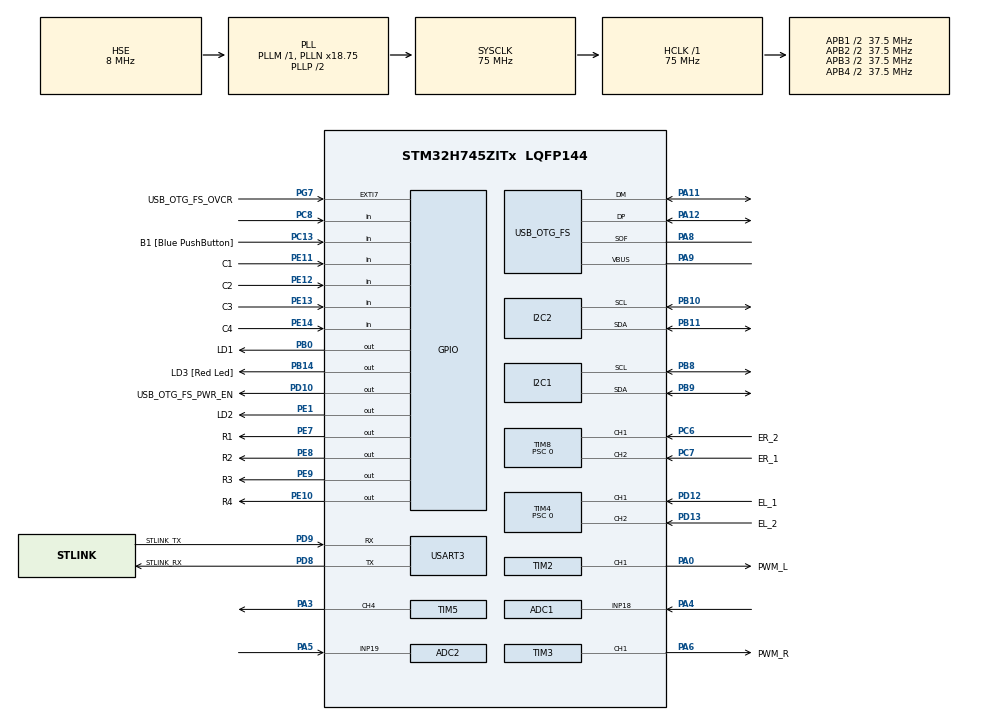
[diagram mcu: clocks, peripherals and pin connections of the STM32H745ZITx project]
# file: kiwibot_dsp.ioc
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ADC1.Channel-0\#ChannelRegularConversion=ADC_CHANNEL_18
ADC1.NbrOfConversionFlag=1
ADC1.OffsetNumber-0\#ChannelRegularConversion=ADC_OFFSET_NONE
ADC1.OffsetSignedSaturation-0\#ChannelRegularConversion=DISABLE
ADC1.Rank-0\#ChannelRegularConversion=1
ADC1.SamplingTime-0\#ChannelRegularConversion=ADC_SAMPLETIME_1CYCLE_5
ADC1.master=1
ADC2.Channel-0\#ChannelRegularConversion=ADC_CHANNEL_19
ADC2.NbrOfConversionFlag=1
ADC2.OffsetNumber-0\#ChannelRegularConversion=ADC_OFFSET_NONE
ADC2.OffsetSignedSaturation-0\#ChannelRegularConversion=DISABLE
ADC2.Rank-0\#ChannelRegularConversion=1
ADC2.SamplingTime-0\#ChannelRegularConversion=ADC_SAMPLETIME_1CYCLE_5
CortexM4.IPs=FATFS_M4\:I,FREERTOS_M4\:I,IWDG2\:I,RCC,WWDG2\:I,DMA,BDMA,MDMA,NVIC2\:I,DEBUG,USB_DEVICE_M4\:I,USB_HOST_M4\:I,PDM2PCM_M4\:I,PWR,RESMGR_UTILITY,SYS_M4\:I,CORTEX_M4\:I,OPENAMP_M4\:I,VREFBUF,GPIO
CortexM7.IPs=FATFS_M7\:I,FREERTOS_M7\:I,IWDG1\:I,RCC\:I,WWDG1\:I,DMA\:I,BDMA\:I,MDMA\:I,NVIC1\:I,SYS\:I,USART3\:I,USB_OTG_FS\:I,CORTEX_M7\:I,DEBUG\:I,USB_DEVICE_M7\:I,USB_HOST_M7\:I,PDM2PCM_M7\:I,PWR\:I,RESMGR_UTILITY\:I,OPENAMP_M7\:I,VREFBUF\:I,GPIO\:I,TIM8\:I,TIM4\:I,TIM3\:I,TIM2\:I,TIM1\:I,ADC1\:I,ADC2\:I,TIM17\:I,I2C1\:I,TIM5\:I,I2C2\:I
CortexM7.Pins=PB0,PE7,PE8,PE9,PE10,PE11,PE12,PE13,PE14,PB14,PC8,PE1
Dma.Request0=USART3_RX
Dma.Request1=USART3_TX
Dma.USART3_RX.0.Direction=DMA_PERIPH_TO_MEMORY
Dma.USART3_RX.0.EventEnable=DISABLE
Dma.USART3_RX.0.FIFOMode=DMA_FIFOMODE_DISABLE
Dma.USART3_RX.0.Instance=DMA1_Stream0
Dma.USART3_RX.0.MemDataAlignment=DMA_MDATAALIGN_BYTE
Dma.USART3_RX.0.MemInc=DMA_MINC_ENABLE
Dma.USART3_RX.0.Mode=DMA_NORMAL
Dma.USART3_RX.0.PeriphDataAlignment=DMA_PDATAALIGN_BYTE
Dma.USART3_RX.0.PeriphInc=DMA_PINC_DISABLE
Dma.USART3_RX.0.Polarity=HAL_DMAMUX_REQ_GEN_RISING
Dma.USART3_RX.0.Priority=DMA_PRIORITY_LOW
Dma.USART3_RX.0.RequestNumber=1
Dma.USART3_RX.0.SignalID=NONE
Dma.USART3_RX.0.SyncEnable=DISABLE
Dma.USART3_RX.0.SyncPolarity=HAL_DMAMUX_SYNC_NO_EVENT
Dma.USART3_RX.0.SyncRequestNumber=1
Dma.USART3_RX.0.SyncSignalID=NONE
Dma.USART3_TX.1.Direction=DMA_MEMORY_TO_PERIPH
Dma.USART3_TX.1.EventEnable=DISABLE
Dma.USART3_TX.1.FIFOMode=DMA_FIFOMODE_DISABLE
Dma.USART3_TX.1.Instance=DMA1_Stream1
Dma.USART3_TX.1.MemDataAlignment=DMA_MDATAALIGN_BYTE
Dma.USART3_TX.1.MemInc=DMA_MINC_ENABLE
Dma.USART3_TX.1.Mode=DMA_NORMAL
Dma.USART3_TX.1.PeriphDataAlignment=DMA_PDATAALIGN_BYTE
Dma.USART3_TX.1.PeriphInc=DMA_PINC_DISABLE
Dma.USART3_TX.1.Polarity=HAL_DMAMUX_REQ_GEN_RISING
Dma.USART3_TX.1.Priority=DMA_PRIORITY_LOW
Dma.USART3_TX.1.RequestNumber=1
Dma.USART3_TX.1.SignalID=NONE
Dma.USART3_TX.1.SyncEnable=DISABLE
Dma.USART3_TX.1.SyncPolarity=HAL_DMAMUX_SYNC_NO_EVENT
Dma.USART3_TX.1.SyncRequestNumber=1
Dma.USART3_TX.1.SyncSignalID=NONE
FREERTOS_M7.BinarySemaphores01=Destination,Dynamic,NULL;Pass,Dynamic,NULL
FREERTOS_M7.Queues01=JoystickQueue,16,Data,0,Dynamic,NULL,NULL
FREERTOS_M7.Tasks01=defaultTask,24,128,StartDefaultTask,Default,NULL,Dynamic,NULL,NULL;Joystick,16,256,StartJoystick,Default,NULL,Dynamic,NULL,NULL;Chassis,24,128,StartChassis,Default,NULL,Dynamic,NULL,NULL;UserInteraction,16,256,StartUserInteraction,Default,NULL,Dynamic,NULL,NULL;Door,8,256,StartDoor,Default,NULL,Dynamic,NULL,NULL;IMU,24,256,StartIMU,Default,NULL,Dynamic,NULL,NULL
FREERTOS_M7.configUSE_NEWLIB_REENTRANT=1
I2C1.Timing=0x00909FCE
I2C2.Timing=0x00909FCE
Mcu.Family=STM32H7
Mcu.Name=STM32H745ZITx
Mcu.Package=LQFP144
NVIC1.DMA1_Stream0_IRQn=true\:5\:0\:false\:false\:true\:true\:false\:true\:true
NVIC1.DMA1_Stream1_IRQn=true\:5\:0\:false\:false\:true\:true\:false\:true\:true
NVIC1.PriorityGroup=NVIC_PRIORITYGROUP_4
NVIC1.TIM17_IRQn=true\:15\:0\:false\:false\:true\:false\:false\:true\:true
NVIC1.TIM1_UP_IRQn=true\:5\:0\:false\:false\:true\:true\:true\:true\:true
NVIC1.TimeBase=TIM17_IRQn
NVIC1.TimeBaseIP=TIM17
NVIC1.USART3_IRQn=true\:5\:0\:false\:false\:true\:true\:true\:true\:true
NVIC2.PriorityGroup=NVIC_PRIORITYGROUP_4
PA0.GPIO_Label=PWM_L
PA0.GPIO_PuPd=GPIO_NOPULL
PA0.GPIO_Speed=GPIO_SPEED_FREQ_HIGH
PA0.PinAttribute=CortexM7
PA0.Signal=S_TIM2_CH1_ETR
PA1.PinAttribute=CortexM7
PA1.Signal=ETH_REF_CLK
PA11.Mode=Device_Only
PA11.PinAttribute=CortexM7
PA11.Signal=USB_OTG_FS_DM
PA12.Mode=Device_Only
PA12.PinAttribute=CortexM7
PA12.Signal=USB_OTG_FS_DP
PA2.PinAttribute=CortexM7
PA2.Signal=ETH_MDIO
PA3.PinAttribute=CortexM7
PA3.Signal=S_TIM5_CH4
PA4.PinAttribute=CortexM7
PA4.Signal=ADCx_INP18
PA5.PinAttribute=CortexM7
PA5.Signal=ADCx_INP19
PA6.GPIO_Label=PWM_R
PA6.GPIO_PuPd=GPIO_NOPULL
PA6.GPIO_Speed=GPIO_SPEED_FREQ_HIGH
PA6.PinAttribute=CortexM7
PA6.Signal=S_TIM3_CH1
PA7.PinAttribute=CortexM7
PA7.Signal=ETH_CRS_DV
PA8.Mode=Activate_SOF_FS
PA8.PinAttribute=CortexM7
PA8.Signal=USB_OTG_FS_SOF
PA9.Mode=Activate_VBUS
PA9.PinAttribute=CortexM7
PA9.Signal=USB_OTG_FS_VBUS
PB0.GPIO_Label=LD1
PB0.GPIO_PuPd=GPIO_PULLUP
PB0.GPIO_Speed=GPIO_SPEED_FREQ_HIGH
PB0.PinAttribute=CortexM7
PB0.PinState=GPIO_PIN_RESET
PB0.Signal=GPIO_Output
PB10.Mode=I2C
PB10.PinAttribute=CortexM7
PB10.Signal=I2C2_SCL
PB11.Mode=I2C
PB11.PinAttribute=CortexM7
PB11.Signal=I2C2_SDA
PB13.PinAttribute=CortexM7
PB13.Signal=ETH_TXD1
PB14.GPIO_Label=LD3 [Red Led]
PB14.GPIO_PuPd=GPIO_PULLUP
PB14.GPIO_Speed=GPIO_SPEED_FREQ_HIGH
PB14.PinAttribute=CortexM7
PB14.PinState=GPIO_PIN_RESET
PB14.Signal=GPIO_Output
PB8.Mode=I2C
PB8.PinAttribute=CortexM7
PB8.Signal=I2C1_SCL
PB9.Mode=I2C
PB9.PinAttribute=CortexM7
PB9.Signal=I2C1_SDA
PC1.PinAttribute=CortexM7
PC1.Signal=ETH_MDC
PC13.GPIO_Label=B1 [Blue PushButton]
PC13.PinAttribute=Free
PC13.Signal=GPIO_Input
PC14-OSC32_IN\ (OSC32_IN).Mode=LSE-External-Oscillator
PC14-OSC32_IN\ (OSC32_IN).PinAttribute=CortexM7
PC14-OSC32_IN\ (OSC32_IN).Signal=RCC_OSC32_IN
PC15-OSC32_OUT\ (OSC32_OUT).Mode=LSE-External-Oscillator
PC15-OSC32_OUT\ (OSC32_OUT).PinAttribute=CortexM7
PC15-OSC32_OUT\ (OSC32_OUT).Signal=RCC_OSC32_OUT
PC4.PinAttribute=CortexM7
PC4.Signal=ETH_RXD0
PC5.PinAttribute=CortexM7
PC5.Signal=ETH_RXD1
PC6.GPIO_Label=ER_2
PC6.GPIO_PuPd=GPIO_PULLUP
PC6.GPIO_Speed=GPIO_SPEED_FREQ_HIGH
PC6.PinAttribute=CortexM7
PC6.Signal=S_TIM8_CH1
PC7.GPIO_Label=ER_1
PC7.GPIO_PuPd=GPIO_PULLUP
PC7.GPIO_Speed=GPIO_SPEED_FREQ_HIGH
PC7.PinAttribute=CortexM7
PC7.Signal=S_TIM8_CH2
PC8.PinAttribute=CortexM7
PC8.Signal=GPIO_Input
PD10.GPIO_Label=USB_OTG_FS_PWR_EN
PD10.PinAttribute=Free
PD10.Signal=GPIO_Output
PD12.GPIO_Label=EL_1
PD12.GPIO_PuPd=GPIO_PULLUP
PD12.GPIO_Speed=GPIO_SPEED_FREQ_HIGH
PD12.PinAttribute=CortexM7
PD12.Signal=S_TIM4_CH1
PD13.GPIO_Label=EL_2
PD13.GPIO_PuPd=GPIO_PULLUP
PD13.GPIO_Speed=GPIO_SPEED_FREQ_HIGH
PD13.PinAttribute=CortexM7
PD13.Signal=S_TIM4_CH2
PD8.GPIO_Label=STLINK_RX
PD8.Mode=Asynchronous
PD8.PinAttribute=CortexM7
PD8.Signal=USART3_TX
PD9.GPIO_Label=STLINK_TX
PD9.Mode=Asynchronous
PD9.PinAttribute=CortexM7
PD9.Signal=USART3_RX
PE1.GPIO_Label=LD2
PE1.GPIO_PuPd=GPIO_PULLUP
PE1.GPIO_Speed=GPIO_SPEED_FREQ_HIGH
PE1.PinAttribute=CortexM7
PE1.PinState=GPIO_PIN_RESET
PE1.Signal=GPIO_Output
PE10.GPIO_Label=R4
PE10.GPIO_PuPd=GPIO_PULLUP
PE10.PinAttribute=CortexM7
PE10.Signal=GPIO_Output
PE11.GPIO_Label=C1
PE11.GPIO_PuPd=GPIO_PULLUP
PE11.PinAttribute=CortexM7
PE11.Signal=GPIO_Input
PE12.GPIO_Label=C2
PE12.GPIO_PuPd=GPIO_PULLUP
PE12.PinAttribute=CortexM7
PE12.Signal=GPIO_Input
PE13.GPIO_Label=C3
PE13.GPIO_PuPd=GPIO_PULLUP
PE13.PinAttribute=CortexM7
PE13.Signal=GPIO_Input
PE14.GPIO_Label=C4
PE14.GPIO_PuPd=GPIO_PULLUP
PE14.PinAttribute=CortexM7
PE14.Signal=GPIO_Input
PE7.GPIO_Label=R1
PE7.GPIO_PuPd=GPIO_PULLUP
PE7.PinAttribute=CortexM7
PE7.Signal=GPIO_Output
PE8.GPIO_Label=R2
PE8.GPIO_PuPd=GPIO_PULLUP
PE8.PinAttribute=CortexM7
PE8.Signal=GPIO_Output
PE9.GPIO_Label=R3
PE9.GPIO_PuPd=GPIO_PULLUP
PE9.PinAttribute=CortexM7
PE9.Signal=GPIO_Output
PG11.PinAttribute=CortexM7
PG11.Signal=ETH_TX_EN
PG13.PinAttribute=CortexM7
PG13.Signal=ETH_TXD0
PG7.GPIO_Label=USB_OTG_FS_OVCR
PG7.PinAttribute=Free
PG7.Signal=GPXTI7
PH0-OSC_IN\ (PH0).Mode=HSE-External-Clock-Source
PH0-OSC_IN\ (PH0).PinAttribute=CortexM7
PH0-OSC_IN\ (PH0).Signal=RCC_OSC_IN
PH1-OSC_OUT\ (PH1).PinAttribute=CortexM7
PH1-OSC_OUT\ (PH1).Signal=RCC_OSC_OUT
ProjectManager.HeapSize=M4-0x200,M7-0x200
ProjectManager.StackSize=M4-0x400,M7-0x400
ProjectManager.TargetToolchain=STM32CubeIDE
RCC.ADCFreq_Value=37500000
RCC.APB1Freq_Value=37500000
RCC.APB2Freq_Value=37500000
RCC.APB3Freq_Value=37500000
RCC.APB4Freq_Value=37500000
RCC.CortexFreq_Value=75000000
RCC.D1PPRE=RCC_APB3_DIV2
RCC.D2PPRE1=RCC_APB1_DIV2
RCC.D2PPRE2=RCC_APB2_DIV2
RCC.D3PPRE=RCC_APB4_DIV2
RCC.DIVM1=1
RCC.DIVM2=1
RCC.DIVM3=1
RCC.DIVN1=18
RCC.DIVN2=18
RCC.DIVN3=18
RCC.DIVP2=4
RCC.DIVQ3=3
RCC.HCLKFreq_Value=75000000
RCC.HSE_VALUE=8000000
RCC.PLL2FRACN=6144
RCC.PLL3FRACN=6144
RCC.PLLFRACN=6144
RCC.SYSCLKFreq_VALUE=75000000
RCC.SYSCLKSource=RCC_SYSCLKSOURCE_PLLCLK
RCC.SupplySource=PWR_DIRECT_SMPS_SUPPLY
RCC.USBCLockSelection=RCC_USBCLKSOURCE_PLL3
RCC.USBFreq_Value=50000000
SH.ADCx_INP18.0=ADC1_INP18,IN18-Single-Ended
SH.ADCx_INP19.0=ADC2_INP19,IN19-Single-Ended
SH.S_TIM2_CH1_ETR.0=TIM2_CH1,PWM Generation1 CH1
SH.S_TIM3_CH1.0=TIM3_CH1,PWM Generation1 CH1
SH.S_TIM4_CH1.0=TIM4_CH1,Encoder_Interface
SH.S_TIM4_CH2.0=TIM4_CH2,Encoder_Interface
SH.S_TIM5_CH4.0=TIM5_CH4,PWM Generation4 CH4
SH.S_TIM8_CH1.0=TIM8_CH1,Encoder_Interface
SH.S_TIM8_CH2.0=TIM8_CH2,Encoder_Interface
TIM1.AutoReloadPreload=TIM_AUTORELOAD_PRELOAD_ENABLE
TIM1.Period=20000
TIM1.Prescaler=74
TIM2.AutoReloadPreload=TIM_AUTORELOAD_PRELOAD_ENABLE
TIM2.Channel-PWM\ Generation1\ CH1=TIM_CHANNEL_1
TIM2.Period=1950
TIM2.Prescaler=75
TIM3.AutoReloadPreload=TIM_AUTORELOAD_PRELOAD_ENABLE
TIM3.Channel-PWM\ Generation1\ CH1=TIM_CHANNEL_1
TIM3.Period=1950
TIM3.Prescaler=75
TIM4.AutoReloadPreload=TIM_AUTORELOAD_PRELOAD_ENABLE
TIM4.EncoderMode=TIM_ENCODERMODE_TI12
TIM4.IC1Filter=1
TIM4.IC1Polarity=TIM_ICPOLARITY_FALLING
TIM4.IC2Filter=1
TIM4.IC2Polarity=TIM_ICPOLARITY_FALLING
TIM4.Period=538
TIM4.Prescaler=0
TIM4.TIM_MasterOutputTrigger=TIM_TRGO_RESET
TIM5.Channel-PWM\ Generation4\ CH4=TIM_CHANNEL_4
TIM5.Period=15000-1
TIM5.Prescaler=100-1
TIM8.AutoReloadPreload=TIM_AUTORELOAD_PRELOAD_ENABLE
TIM8.EncoderMode=TIM_ENCODERMODE_TI12
TIM8.IC1Filter=1
TIM8.IC2Filter=1
TIM8.Period=538
TIM8.Prescaler=0
USART3.VirtualMode-Asynchronous=VM_ASYNC
USB_OTG_FS.VirtualMode=Device_Only
VP_FREERTOS_M7_VS_CMSIS_V2.Mode=CMSIS_V2
VP_SYS_M4_VS_Systick.Mode=SysTick
VP_SYS_VS_tim17.Mode=TIM17
VP_TIM1_VS_ClockSourceINT.Mode=Internal
VP_TIM2_VS_ClockSourceINT.Mode=Internal
VP_TIM3_VS_ClockSourceINT.Mode=Internal
VP_TIM5_VS_ClockSourceINT.Mode=Internal
board=NUCLEO-H745ZI-Q

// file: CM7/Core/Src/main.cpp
/* USER CODE BEGIN Header */
/**
  ******************************************************************************
  * @file           : main.c
  * @brief          : Main program body
  ******************************************************************************
  * @attention
  *
  * Copyright (c) 2023 STMicroelectronics.
  * All rights reserved.
  *
  * This software is licensed under terms that can be found in the LICENSE file
  * in the root directory of this software component.
  * If no LICENSE file comes with this software, it is provided AS-IS.
  *
  ******************************************************************************
  */
/* USER CODE END Header */
#include "main.h"
#include "cmsis_os.h"

/* USER CODE BEGIN Includes */
#include "Encoder.hpp"
#include "MotorPI.hpp"
#include "Joystick.hpp"
#include "Keypad.hpp"
#include "stdio.h"
#include "stdint.h"
/* USER CODE END Includes */

/* USER CODE BEGIN PD */

#ifndef HSEM_ID_0
#define HSEM_ID_0 (0U) /* HW semaphore 0*/
#endif

/* USER CODE END PD */

ADC_HandleTypeDef hadc1;
ADC_HandleTypeDef hadc2;

I2C_HandleTypeDef hi2c1;
I2C_HandleTypeDef hi2c2;

TIM_HandleTypeDef htim1;
TIM_HandleTypeDef htim2;
TIM_HandleTypeDef htim3;
TIM_HandleTypeDef htim4;
TIM_HandleTypeDef htim5;
TIM_HandleTypeDef htim8;

UART_HandleTypeDef huart3;
DMA_HandleTypeDef hdma_usart3_rx;
DMA_HandleTypeDef hdma_usart3_tx;

PCD_HandleTypeDef hpcd_USB_OTG_FS;

/* Definitions for defaultTask */
osThreadId_t defaultTaskHandle;
const osThreadAttr_t defaultTask_attributes = {
  .name = "defaultTask",
  .stack_size = 128 * 4,
  .priority = (osPriority_t) osPriorityNormal,
};
/* Definitions for Joystick */
osThreadId_t JoystickHandle;
const osThreadAttr_t Joystick_attributes = {
  .name = "Joystick",
  .stack_size = 256 * 4,
  .priority = (osPriority_t) osPriorityNormal,
};
/* Definitions for Chassis */
osThreadId_t ChassisHandle;
const osThreadAttr_t Chassis_attributes = {
  .name = "Chassis",
  .stack_size = 256 * 4,
  .priority = (osPriority_t) osPriorityHigh,
};
/* Definitions for UserInteraction */
osThreadId_t UserInteractionHandle;
const osThreadAttr_t UserInteraction_attributes = {
  .name = "UserInteraction",
  .stack_size = 256 * 4,
  .priority = (osPriority_t) osPriorityBelowNormal,
};
/* Definitions for Door */
osThreadId_t DoorHandle;
const osThreadAttr_t Door_attributes = {
  .name = "Door",
  .stack_size = 256 * 4,
  .priority = (osPriority_t) osPriorityLow,
};
/* Definitions for IMU */
osThreadId_t IMUHandle;
const osThreadAttr_t IMU_attributes = {
  .name = "IMU",
  .stack_size = 256 * 4,
  .priority = (osPriority_t) osPriorityBelowNormal,
};
/* Definitions for JoystickQueue */
osMessageQueueId_t JoystickQueueHandle;
const osMessageQueueAttr_t JoystickQueue_attributes = {
  .name = "JoystickQueue"
};
/* Definitions for Destination */
osSemaphoreId_t DestinationHandle;
const osSemaphoreAttr_t Destination_attributes = {
  .name = "Destination"
};
/* Definitions for Pass */
osSemaphoreId_t PassHandle;
const osSemaphoreAttr_t Pass_attributes = {
  .name = "Pass"
};
/* USER CODE BEGIN PV */
char msg[50];
struct Data
{
  float x_data;
  float y_data;
};
uint16_t x_adc;
uint16_t y_adc;

#define MPU6050_ADDR 0xD0
#define SMPLRT_DIV_REG 0x19
#define ACCEL_CONFIG_REG 0x1C
#define ACCEL_XOUT_H_REG 0x3B
#define TEMP_OUT_H_REG 0x41
#define PWR_MGMT_1_REG 0x6B
#define WHO_AM_I_REG 0x75

float Accel_X_RAW, Accel_Y_RAW, Accel_Z_RAW;
float Ax, Ay, Az;
float filterCoefficients[] = {0.0082,	0.0328,	0.0747,	0.1252,	0.1673,	0.1836,	0.1673,	0.1252,	0.0747,	0.0328,	0.0082};
float filterState[sizeof(filterCoefficients) - 1];
/* USER CODE END PV */

void SystemClock_Config(void);
void PeriphCommonClock_Config(void);
static void MX_GPIO_Init(void);
static void MX_DMA_Init(void);
static void MX_USART3_UART_Init(void);
static void MX_USB_OTG_FS_PCD_Init(void);
static void MX_TIM8_Init(void);
static void MX_TIM4_Init(void);
static void MX_TIM2_Init(void);
static void MX_TIM3_Init(void);
static void MX_TIM1_Init(void);
static void MX_ADC1_Init(void);
static void MX_ADC2_Init(void);
static void MX_I2C1_Init(void);
static void MX_TIM5_Init(void);
static void MX_I2C2_Init(void);
void StartDefaultTask(void *argument);
void StartJoystick(void *argument);
void StartChassis(void *argument);
void StartUserInteraction(void *argument);
void StartDoor(void *argument);
void StartIMU(void *argument);

int main(void)
{
/* USER CODE BEGIN Boot_Mode_Sequence_0 */
  int32_t timeout;
/* USER CODE END Boot_Mode_Sequence_0 */

/* USER CODE BEGIN Boot_Mode_Sequence_1 */
  /* Wait until CPU2 boots and enters in stop mode or timeout*/
  timeout = 0xFFFF;
  while((__HAL_RCC_GET_FLAG(RCC_FLAG_D2CKRDY) != RESET) && (timeout-- > 0));
  if ( timeout < 0 )
  {
  Error_Handler();
  }
/* USER CODE END Boot_Mode_Sequence_1 */
  /* MCU Configuration--------------------------------------------------------*/

  /* Reset of all peripherals, Initializes the Flash interface and the Systick. */
  HAL_Init();

  /* Configure the system clock */
  SystemClock_Config();

/* Configure the peripherals common clocks */
  PeriphCommonClock_Config();
/* USER CODE BEGIN Boot_Mode_Sequence_2 */
/* When system initialization is finished, Cortex-M7 will release Cortex-M4 by means of
HSEM notification */
/*HW semaphore Clock enable*/
__HAL_RCC_HSEM_CLK_ENABLE();
/*Take HSEM */
HAL_HSEM_FastTake(HSEM_ID_0);
/*Release HSEM in order to notify the CPU2(CM4)*/
HAL_HSEM_Release(HSEM_ID_0,0);
/* wait until CPU2 wakes up from stop mode */
timeout = 0xFFFF;
while((__HAL_RCC_GET_FLAG(RCC_FLAG_D2CKRDY) == RESET) && (timeout-- > 0));
if ( timeout < 0 )
{
Error_Handler();
}
/* USER CODE END Boot_Mode_Sequence_2 */

  /* Initialize all configured peripherals */
  MX_GPIO_Init();
  MX_DMA_Init();
  MX_USART3_UART_Init();
  MX_USB_OTG_FS_PCD_Init();
  MX_TIM8_Init();
  MX_TIM4_Init();
  MX_TIM2_Init();
  MX_TIM3_Init();
  MX_TIM1_Init();
  MX_ADC1_Init();
  MX_ADC2_Init();
  MX_I2C1_Init();
  MX_TIM5_Init();
  MX_I2C2_Init();

  /* Init scheduler */
  osKernelInitialize();

  /* Create the semaphores(s) */
  /* creation of Destination */
  DestinationHandle = osSemaphoreNew(1, 1, &Destination_attributes);

  /* creation of Pass */
  PassHandle = osSemaphoreNew(1, 1, &Pass_attributes);

  /* Create the queue(s) */
  /* creation of JoystickQueue */
  JoystickQueueHandle = osMessageQueueNew (16, sizeof(Data), &JoystickQueue_attributes);

  /* Create the thread(s) */
  /* creation of defaultTask */
  defaultTaskHandle = osThreadNew(StartDefaultTask, NULL, &defaultTask_attributes);

  /* creation of Joystick */
  JoystickHandle = osThreadNew(StartJoystick, NULL, &Joystick_attributes);

  /* creation of Chassis */
  ChassisHandle = osThreadNew(StartChassis, NULL, &Chassis_attributes);

  /* creation of UserInteraction */
  UserInteractionHandle = osThreadNew(StartUserInteraction, NULL, &UserInteraction_attributes);

  /* creation of Door */
  DoorHandle = osThreadNew(StartDoor, NULL, &Door_attributes);

  /* creation of IMU */
  IMUHandle = osThreadNew(StartIMU, NULL, &IMU_attributes);

  /* Start scheduler */
  osKernelStart();
  /* We should never get here as control is now taken by the scheduler */
  /* Infinite loop */
  while (1)
  {

  }
}

void SystemClock_Config(void)
{
  RCC_OscInitTypeDef RCC_OscInitStruct = {0};
  RCC_ClkInitTypeDef RCC_ClkInitStruct = {0};

  /** Supply configuration update enable
  */
  HAL_PWREx_ConfigSupply(PWR_DIRECT_SMPS_SUPPLY);

  /** Configure the main internal regulator output voltage
  */
  __HAL_PWR_VOLTAGESCALING_CONFIG(PWR_REGULATOR_VOLTAGE_SCALE3);

  while(!__HAL_PWR_GET_FLAG(PWR_FLAG_VOSRDY)) {}

  /** Initializes the RCC Oscillators according to the specified parameters
  * in the RCC_OscInitTypeDef structure.
  */
  RCC_OscInitStruct.OscillatorType = RCC_OSCILLATORTYPE_HSE;
  RCC_OscInitStruct.HSEState = RCC_HSE_BYPASS;
  RCC_OscInitStruct.PLL.PLLState = RCC_PLL_ON;
  RCC_OscInitStruct.PLL.PLLSource = RCC_PLLSOURCE_HSE;
  RCC_OscInitStruct.PLL.PLLM = 1;
  RCC_OscInitStruct.PLL.PLLN = 18;
  RCC_OscInitStruct.PLL.PLLP = 2;
  RCC_OscInitStruct.PLL.PLLQ = 2;
  RCC_OscInitStruct.PLL.PLLR = 2;
  RCC_OscInitStruct.PLL.PLLRGE = RCC_PLL1VCIRANGE_3;
  RCC_OscInitStruct.PLL.PLLVCOSEL = RCC_PLL1VCOMEDIUM;
  RCC_OscInitStruct.PLL.PLLFRACN = 6144;
  if (HAL_RCC_OscConfig(&RCC_OscInitStruct) != HAL_OK)
  {
    Error_Handler();
  }

  /** Initializes the CPU, AHB and APB buses clocks
  */
  RCC_ClkInitStruct.ClockType = RCC_CLOCKTYPE_HCLK|RCC_CLOCKTYPE_SYSCLK
                              |RCC_CLOCKTYPE_PCLK1|RCC_CLOCKTYPE_PCLK2
                              |RCC_CLOCKTYPE_D3PCLK1|RCC_CLOCKTYPE_D1PCLK1;
  RCC_ClkInitStruct.SYSCLKSource = RCC_SYSCLKSOURCE_PLLCLK;
  RCC_ClkInitStruct.SYSCLKDivider = RCC_SYSCLK_DIV1;
  RCC_ClkInitStruct.AHBCLKDivider = RCC_HCLK_DIV1;
  RCC_ClkInitStruct.APB3CLKDivider = RCC_APB3_DIV2;
  RCC_ClkInitStruct.APB1CLKDivider = RCC_APB1_DIV2;
  RCC_ClkInitStruct.APB2CLKDivider = RCC_APB2_DIV2;
  RCC_ClkInitStruct.APB4CLKDivider = RCC_APB4_DIV2;

  if (HAL_RCC_ClockConfig(&RCC_ClkInitStruct, FLASH_LATENCY_1) != HAL_OK)
  {
    Error_Handler();
  }
}

void PeriphCommonClock_Config(void)
{
  RCC_PeriphCLKInitTypeDef PeriphClkInitStruct = {0};

  /** Initializes the peripherals clock
  */
  PeriphClkInitStruct.PeriphClockSelection = RCC_PERIPHCLK_ADC;
  PeriphClkInitStruct.PLL2.PLL2M = 1;
  PeriphClkInitStruct.PLL2.PLL2N = 18;
  PeriphClkInitStruct.PLL2.PLL2P = 4;
  PeriphClkInitStruct.PLL2.PLL2Q = 2;
  PeriphClkInitStruct.PLL2.PLL2R = 2;
  PeriphClkInitStruct.PLL2.PLL2RGE = RCC_PLL2VCIRANGE_3;
  PeriphClkInitStruct.PLL2.PLL2VCOSEL = RCC_PLL2VCOMEDIUM;
  PeriphClkInitStruct.PLL2.PLL2FRACN = 6144;
  PeriphClkInitStruct.AdcClockSelection = RCC_ADCCLKSOURCE_PLL2;
  if (HAL_RCCEx_PeriphCLKConfig(&PeriphClkInitStruct) != HAL_OK)
  {
    Error_Handler();
  }
}

static void MX_ADC1_Init(void)
{

  ADC_MultiModeTypeDef multimode = {0};
  ADC_ChannelConfTypeDef sConfig = {0};

  /** Common config
  */
  hadc1.Instance = ADC1;
  hadc1.Init.ClockPrescaler = ADC_CLOCK_ASYNC_DIV1;
  hadc1.Init.Resolution = ADC_RESOLUTION_16B;
  hadc1.Init.ScanConvMode = ADC_SCAN_DISABLE;
  hadc1.Init.EOCSelection = ADC_EOC_SINGLE_CONV;
  hadc1.Init.LowPowerAutoWait = DISABLE;
  hadc1.Init.ContinuousConvMode = DISABLE;
  hadc1.Init.NbrOfConversion = 1;
  hadc1.Init.DiscontinuousConvMode = DISABLE;
  hadc1.Init.ExternalTrigConv = ADC_SOFTWARE_START;
  hadc1.Init.ExternalTrigConvEdge = ADC_EXTERNALTRIGCONVEDGE_NONE;
  hadc1.Init.ConversionDataManagement = ADC_CONVERSIONDATA_DR;
  hadc1.Init.Overrun = ADC_OVR_DATA_PRESERVED;
  hadc1.Init.LeftBitShift = ADC_LEFTBITSHIFT_NONE;
  hadc1.Init.OversamplingMode = DISABLE;
  if (HAL_ADC_Init(&hadc1) != HAL_OK)
  {
    Error_Handler();
  }

  /** Configure the ADC multi-mode
  */
  multimode.Mode = ADC_MODE_INDEPENDENT;
  if (HAL_ADCEx_MultiModeConfigChannel(&hadc1, &multimode) != HAL_OK)
  {
    Error_Handler();
  }

  /** Configure Regular Channel
  */
  sConfig.Channel = ADC_CHANNEL_18;
  sConfig.Rank = ADC_REGULAR_RANK_1;
  sConfig.SamplingTime = ADC_SAMPLETIME_1CYCLE_5;
  sConfig.SingleDiff = ADC_SINGLE_ENDED;
  sConfig.OffsetNumber = ADC_OFFSET_NONE;
  sConfig.Offset = 0;
  sConfig.OffsetSignedSaturation = DISABLE;
  if (HAL_ADC_ConfigChannel(&hadc1, &sConfig) != HAL_OK)
  {
    Error_Handler();
  }

}

static void MX_ADC2_Init(void)
{

  ADC_ChannelConfTypeDef sConfig = {0};

  /** Common config
  */
  hadc2.Instance = ADC2;
  hadc2.Init.ClockPrescaler = ADC_CLOCK_ASYNC_DIV1;
  hadc2.Init.Resolution = ADC_RESOLUTION_16B;
  hadc2.Init.ScanConvMode = ADC_SCAN_DISABLE;
  hadc2.Init.EOCSelection = ADC_EOC_SINGLE_CONV;
  hadc2.Init.LowPowerAutoWait = DISABLE;
  hadc2.Init.ContinuousConvMode = DISABLE;
  hadc2.Init.NbrOfConversion = 1;
  hadc2.Init.DiscontinuousConvMode = DISABLE;
  hadc2.Init.ExternalTrigConv = ADC_SOFTWARE_START;
  hadc2.Init.ExternalTrigConvEdge = ADC_EXTERNALTRIGCONVEDGE_NONE;
  hadc2.Init.ConversionDataManagement = ADC_CONVERSIONDATA_DR;
  hadc2.Init.Overrun = ADC_OVR_DATA_PRESERVED;
  hadc2.Init.LeftBitShift = ADC_LEFTBITSHIFT_NONE;
  hadc2.Init.OversamplingMode = DISABLE;
  if (HAL_ADC_Init(&hadc2) != HAL_OK)
  {
    Error_Handler();
  }

  /** Configure Regular Channel
  */
  sConfig.Channel = ADC_CHANNEL_19;
  sConfig.Rank = ADC_REGULAR_RANK_1;
  sConfig.SamplingTime = ADC_SAMPLETIME_1CYCLE_5;
  sConfig.SingleDiff = ADC_SINGLE_ENDED;
  sConfig.OffsetNumber = ADC_OFFSET_NONE;
  sConfig.Offset = 0;
  sConfig.OffsetSignedSaturation = DISABLE;
  if (HAL_ADC_ConfigChannel(&hadc2, &sConfig) != HAL_OK)
  {
    Error_Handler();
  }

}

static void MX_I2C1_Init(void)
{

  hi2c1.Instance = I2C1;
  hi2c1.Init.Timing = 0x00909FCE;
  hi2c1.Init.OwnAddress1 = 0;
  hi2c1.Init.AddressingMode = I2C_ADDRESSINGMODE_7BIT;
  hi2c1.Init.DualAddressMode = I2C_DUALADDRESS_DISABLE;
  hi2c1.Init.OwnAddress2 = 0;
  hi2c1.Init.OwnAddress2Masks = I2C_OA2_NOMASK;
  hi2c1.Init.GeneralCallMode = I2C_GENERALCALL_DISABLE;
  hi2c1.Init.NoStretchMode = I2C_NOSTRETCH_DISABLE;
  if (HAL_I2C_Init(&hi2c1) != HAL_OK)
  {
    Error_Handler();
  }

  /** Configure Analogue filter
  */
  if (HAL_I2CEx_ConfigAnalogFilter(&hi2c1, I2C_ANALOGFILTER_ENABLE) != HAL_OK)
  {
    Error_Handler();
  }

  /** Configure Digital filter
  */
  if (HAL_I2CEx_ConfigDigitalFilter(&hi2c1, 0) != HAL_OK)
  {
    Error_Handler();
  }

}

static void MX_I2C2_Init(void)
{

  hi2c2.Instance = I2C2;
  hi2c2.Init.Timing = 0x00909FCE;
  hi2c2.Init.OwnAddress1 = 0;
  hi2c2.Init.AddressingMode = I2C_ADDRESSINGMODE_7BIT;
  hi2c2.Init.DualAddressMode = I2C_DUALADDRESS_DISABLE;
  hi2c2.Init.OwnAddress2 = 0;
  hi2c2.Init.OwnAddress2Masks = I2C_OA2_NOMASK;
  hi2c2.Init.GeneralCallMode = I2C_GENERALCALL_DISABLE;
  hi2c2.Init.NoStretchMode = I2C_NOSTRETCH_DISABLE;
  if (HAL_I2C_Init(&hi2c2) != HAL_OK)
  {
    Error_Handler();
  }

  /** Configure Analogue filter
  */
  if (HAL_I2CEx_ConfigAnalogFilter(&hi2c2, I2C_ANALOGFILTER_ENABLE) != HAL_OK)
  {
    Error_Handler();
  }

  /** Configure Digital filter
  */
  if (HAL_I2CEx_ConfigDigitalFilter(&hi2c2, 0) != HAL_OK)
  {
    Error_Handler();
  }

}

static void MX_TIM1_Init(void)
{

  TIM_ClockConfigTypeDef sClockSourceConfig = {0};
  TIM_MasterConfigTypeDef sMasterConfig = {0};

  htim1.Instance = TIM1;
  htim1.Init.Prescaler = 74;
  htim1.Init.CounterMode = TIM_COUNTERMODE_UP;
  htim1.Init.Period = 20000;
  htim1.Init.ClockDivision = TIM_CLOCKDIVISION_DIV1;
  htim1.Init.RepetitionCounter = 0;
  htim1.Init.AutoReloadPreload = TIM_AUTORELOAD_PRELOAD_ENABLE;
  if (HAL_TIM_Base_Init(&htim1) != HAL_OK)
  {
    Error_Handler();
  }
  sClockSourceConfig.ClockSource = TIM_CLOCKSOURCE_INTERNAL;
  if (HAL_TIM_ConfigClockSource(&htim1, &sClockSourceConfig) != HAL_OK)
  {
    Error_Handler();
  }
  sMasterConfig.MasterOutputTrigger = TIM_TRGO_RESET;
  sMasterConfig.MasterOutputTrigger2 = TIM_TRGO2_RESET;
  sMasterConfig.MasterSlaveMode = TIM_MASTERSLAVEMODE_DISABLE;
  if (HAL_TIMEx_MasterConfigSynchronization(&htim1, &sMasterConfig) != HAL_OK)
  {
    Error_Handler();
  }

}

static void MX_TIM2_Init(void)
{

  TIM_ClockConfigTypeDef sClockSourceConfig = {0};
  TIM_MasterConfigTypeDef sMasterConfig = {0};
  TIM_OC_InitTypeDef sConfigOC = {0};

  htim2.Instance = TIM2;
  htim2.Init.Prescaler = 75;
  htim2.Init.CounterMode = TIM_COUNTERMODE_UP;
  htim2.Init.Period = 1950;
  htim2.Init.ClockDivision = TIM_CLOCKDIVISION_DIV1;
  htim2.Init.AutoReloadPreload = TIM_AUTORELOAD_PRELOAD_ENABLE;
  if (HAL_TIM_Base_Init(&htim2) != HAL_OK)
  {
    Error_Handler();
  }
  sClockSourceConfig.ClockSource = TIM_CLOCKSOURCE_INTERNAL;
  if (HAL_TIM_ConfigClockSource(&htim2, &sClockSourceConfig) != HAL_OK)
  {
    Error_Handler();
  }
  if (HAL_TIM_PWM_Init(&htim2) != HAL_OK)
  {
    Error_Handler();
  }
  sMasterConfig.MasterOutputTrigger = TIM_TRGO_RESET;
  sMasterConfig.MasterSlaveMode = TIM_MASTERSLAVEMODE_DISABLE;
  if (HAL_TIMEx_MasterConfigSynchronization(&htim2, &sMasterConfig) != HAL_OK)
  {
    Error_Handler();
  }
  sConfigOC.OCMode = TIM_OCMODE_PWM1;
  sConfigOC.Pulse = 0;
  sConfigOC.OCPolarity = TIM_OCPOLARITY_HIGH;
  sConfigOC.OCFastMode = TIM_OCFAST_DISABLE;
  if (HAL_TIM_PWM_ConfigChannel(&htim2, &sConfigOC, TIM_CHANNEL_1) != HAL_OK)
  {
    Error_Handler();
  }
  HAL_TIM_MspPostInit(&htim2);

}

static void MX_TIM3_Init(void)
{

  TIM_ClockConfigTypeDef sClockSourceConfig = {0};
  TIM_MasterConfigTypeDef sMasterConfig = {0};
  TIM_OC_InitTypeDef sConfigOC = {0};

  htim3.Instance = TIM3;
  htim3.Init.Prescaler = 75;
  htim3.Init.CounterMode = TIM_COUNTERMODE_UP;
  htim3.Init.Period = 1950;
  htim3.Init.ClockDivision = TIM_CLOCKDIVISION_DIV1;
  htim3.Init.AutoReloadPreload = TIM_AUTORELOAD_PRELOAD_ENABLE;
  if (HAL_TIM_Base_Init(&htim3) != HAL_OK)
  {
    Error_Handler();
  }
  sClockSourceConfig.ClockSource = TIM_CLOCKSOURCE_INTERNAL;
  if (HAL_TIM_ConfigClockSource(&htim3, &sClockSourceConfig) != HAL_OK)
  {
    Error_Handler();
  }
  if (HAL_TIM_PWM_Init(&htim3) != HAL_OK)
  {
    Error_Handler();
  }
  sMasterConfig.MasterOutputTrigger = TIM_TRGO_RESET;
  sMasterConfig.MasterSlaveMode = TIM_MASTERSLAVEMODE_DISABLE;
  if (HAL_TIMEx_MasterConfigSynchronization(&htim3, &sMasterConfig) != HAL_OK)
  {
    Error_Handler();
  }
  sConfigOC.OCMode = TIM_OCMODE_PWM1;
  sConfigOC.Pulse = 0;
  sConfigOC.OCPolarity = TIM_OCPOLARITY_HIGH;
  sConfigOC.OCFastMode = TIM_OCFAST_DISABLE;
  if (HAL_TIM_PWM_ConfigChannel(&htim3, &sConfigOC, TIM_CHANNEL_1) != HAL_OK)
  {
    Error_Handler();
  }
  HAL_TIM_MspPostInit(&htim3);

}

static void MX_TIM4_Init(void)
{

  TIM_Encoder_InitTypeDef sConfig = {0};
  TIM_MasterConfigTypeDef sMasterConfig = {0};

  htim4.Instance = TIM4;
  htim4.Init.Prescaler = 0;
  htim4.Init.CounterMode = TIM_COUNTERMODE_UP;
  htim4.Init.Period = 538;
  htim4.Init.ClockDivision = TIM_CLOCKDIVISION_DIV1;
  htim4.Init.AutoReloadPreload = TIM_AUTORELOAD_PRELOAD_ENABLE;
  sConfig.EncoderMode = TIM_ENCODERMODE_TI12;
  sConfig.IC1Polarity = TIM_ICPOLARITY_FALLING;
  sConfig.IC1Selection = TIM_ICSELECTION_DIRECTTI;
  sConfig.IC1Prescaler = TIM_ICPSC_DIV1;
  sConfig.IC1Filter = 1;
  sConfig.IC2Polarity = TIM_ICPOLARITY_FALLING;
  sConfig.IC2Selection = TIM_ICSELECTION_DIRECTTI;
  sConfig.IC2Prescaler = TIM_ICPSC_DIV1;
  sConfig.IC2Filter = 1;
  if (HAL_TIM_Encoder_Init(&htim4, &sConfig) != HAL_OK)
  {
    Error_Handler();
  }
  sMasterConfig.MasterOutputTrigger = TIM_TRGO_RESET;
  sMasterConfig.MasterSlaveMode = TIM_MASTERSLAVEMODE_DISABLE;
  if (HAL_TIMEx_MasterConfigSynchronization(&htim4, &sMasterConfig) != HAL_OK)
  {
    Error_Handler();
  }

}

static void MX_TIM5_Init(void)
{

  TIM_ClockConfigTypeDef sClockSourceConfig = {0};
  TIM_MasterConfigTypeDef sMasterConfig = {0};
  TIM_OC_InitTypeDef sConfigOC = {0};

  htim5.Instance = TIM5;
  htim5.Init.Prescaler = 100-1;
  htim5.Init.CounterMode = TIM_COUNTERMODE_UP;
  htim5.Init.Period = 15000-1;
  htim5.Init.ClockDivision = TIM_CLOCKDIVISION_DIV1;
  htim5.Init.AutoReloadPreload = TIM_AUTORELOAD_PRELOAD_DISABLE;
  if (HAL_TIM_Base_Init(&htim5) != HAL_OK)
  {
    Error_Handler();
  }
  sClockSourceConfig.ClockSource = TIM_CLOCKSOURCE_INTERNAL;
  if (HAL_TIM_ConfigClockSource(&htim5, &sClockSourceConfig) != HAL_OK)
  {
    Error_Handler();
  }
  if (HAL_TIM_PWM_Init(&htim5) != HAL_OK)
  {
    Error_Handler();
  }
  sMasterConfig.MasterOutputTrigger = TIM_TRGO_RESET;
  sMasterConfig.MasterSlaveMode = TIM_MASTERSLAVEMODE_DISABLE;
  if (HAL_TIMEx_MasterConfigSynchronization(&htim5, &sMasterConfig) != HAL_OK)
  {
    Error_Handler();
  }
  sConfigOC.OCMode = TIM_OCMODE_PWM1;
  sConfigOC.Pulse = 0;
  sConfigOC.OCPolarity = TIM_OCPOLARITY_HIGH;
  sConfigOC.OCFastMode = TIM_OCFAST_DISABLE;
  if (HAL_TIM_PWM_ConfigChannel(&htim5, &sConfigOC, TIM_CHANNEL_4) != HAL_OK)
  {
    Error_Handler();
  }
  HAL_TIM_MspPostInit(&htim5);

}

static void MX_TIM8_Init(void)
{

  TIM_Encoder_InitTypeDef sConfig = {0};
  TIM_MasterConfigTypeDef sMasterConfig = {0};

  htim8.Instance = TIM8;
  htim8.Init.Prescaler = 0;
  htim8.Init.CounterMode = TIM_COUNTERMODE_UP;
  htim8.Init.Period = 538;
  htim8.Init.ClockDivision = TIM_CLOCKDIVISION_DIV1;
  htim8.Init.RepetitionCounter = 0;
  htim8.Init.AutoReloadPreload = TIM_AUTORELOAD_PRELOAD_ENABLE;
  sConfig.EncoderMode = TIM_ENCODERMODE_TI12;
  sConfig.IC1Polarity = TIM_ICPOLARITY_RISING;
  sConfig.IC1Selection = TIM_ICSELECTION_DIRECTTI;
  sConfig.IC1Prescaler = TIM_ICPSC_DIV1;
  sConfig.IC1Filter = 1;
  sConfig.IC2Polarity = TIM_ICPOLARITY_RISING;
  sConfig.IC2Selection = TIM_ICSELECTION_DIRECTTI;
  sConfig.IC2Prescaler = TIM_ICPSC_DIV1;
  sConfig.IC2Filter = 1;
  if (HAL_TIM_Encoder_Init(&htim8, &sConfig) != HAL_OK)
  {
    Error_Handler();
  }
  sMasterConfig.MasterOutputTrigger = TIM_TRGO_RESET;
  sMasterConfig.MasterOutputTrigger2 = TIM_TRGO2_RESET;
  sMasterConfig.MasterSlaveMode = TIM_MASTERSLAVEMODE_DISABLE;
  if (HAL_TIMEx_MasterConfigSynchronization(&htim8, &sMasterConfig) != HAL_OK)
  {
    Error_Handler();
  }

}

static void MX_USART3_UART_Init(void)
{

  huart3.Instance = USART3;
  huart3.Init.BaudRate = 115200;
  huart3.Init.WordLength = UART_WORDLENGTH_8B;
  huart3.Init.StopBits = UART_STOPBITS_1;
  huart3.Init.Parity = UART_PARITY_NONE;
  huart3.Init.Mode = UART_MODE_TX_RX;
  huart3.Init.HwFlowCtl = UART_HWCONTROL_NONE;
  huart3.Init.OverSampling = UART_OVERSAMPLING_16;
  huart3.Init.OneBitSampling = UART_ONE_BIT_SAMPLE_DISABLE;
  huart3.Init.ClockPrescaler = UART_PRESCALER_DIV1;
  huart3.AdvancedInit.AdvFeatureInit = UART_ADVFEATURE_NO_INIT;
  if (HAL_UART_Init(&huart3) != HAL_OK)
  {
    Error_Handler();
  }
  if (HAL_UARTEx_SetTxFifoThreshold(&huart3, UART_TXFIFO_THRESHOLD_1_8) != HAL_OK)
  {
    Error_Handler();
  }
  if (HAL_UARTEx_SetRxFifoThreshold(&huart3, UART_RXFIFO_THRESHOLD_1_8) != HAL_OK)
  {
    Error_Handler();
  }
  if (HAL_UARTEx_DisableFifoMode(&huart3) != HAL_OK)
  {
    Error_Handler();
  }

}

static void MX_USB_OTG_FS_PCD_Init(void)
{

  hpcd_USB_OTG_FS.Instance = USB_OTG_FS;
  hpcd_USB_OTG_FS.Init.dev_endpoints = 9;
  hpcd_USB_OTG_FS.Init.speed = PCD_SPEED_FULL;
  hpcd_USB_OTG_FS.Init.dma_enable = DISABLE;
  hpcd_USB_OTG_FS.Init.phy_itface = PCD_PHY_EMBEDDED;
  hpcd_USB_OTG_FS.Init.Sof_enable = DISABLE;
  hpcd_USB_OTG_FS.Init.low_power_enable = DISABLE;
  hpcd_USB_OTG_FS.Init.lpm_enable = DISABLE;
  hpcd_USB_OTG_FS.Init.battery_charging_enable = ENABLE;
  hpcd_USB_OTG_FS.Init.vbus_sensing_enable = ENABLE;
  hpcd_USB_OTG_FS.Init.use_dedicated_ep1 = DISABLE;
  if (HAL_PCD_Init(&hpcd_USB_OTG_FS) != HAL_OK)
  {
    Error_Handler();
  }

}

static void MX_DMA_Init(void)
{

  /* DMA controller clock enable */
  __HAL_RCC_DMA1_CLK_ENABLE();

  /* DMA interrupt init */
  /* DMA1_Stream0_IRQn interrupt configuration */
  HAL_NVIC_SetPriority(DMA1_Stream0_IRQn, 5, 0);
  HAL_NVIC_EnableIRQ(DMA1_Stream0_IRQn);
  /* DMA1_Stream1_IRQn interrupt configuration */
  HAL_NVIC_SetPriority(DMA1_Stream1_IRQn, 5, 0);
  HAL_NVIC_EnableIRQ(DMA1_Stream1_IRQn);

}

static void MX_GPIO_Init(void)
{
  GPIO_InitTypeDef GPIO_InitStruct = {0};

  /* GPIO Ports Clock Enable */
  __HAL_RCC_GPIOC_CLK_ENABLE();
  __HAL_RCC_GPIOH_CLK_ENABLE();
  __HAL_RCC_GPIOA_CLK_ENABLE();
  __HAL_RCC_GPIOB_CLK_ENABLE();
  __HAL_RCC_GPIOE_CLK_ENABLE();
  __HAL_RCC_GPIOD_CLK_ENABLE();

  /*Configure GPIO pin Output Level */
  HAL_GPIO_WritePin(GPIOB, LD1_Pin|LD3_Pin, GPIO_PIN_RESET);

  /*Configure GPIO pin Output Level */
  HAL_GPIO_WritePin(GPIOE, R1_Pin|R2_Pin|R3_Pin|R4_Pin
                          |LD2_Pin, GPIO_PIN_RESET);

  /*Configure GPIO pins : LD1_Pin LD3_Pin */
  GPIO_InitStruct.Pin = LD1_Pin|LD3_Pin;
  GPIO_InitStruct.Mode = GPIO_MODE_OUTPUT_PP;
  GPIO_InitStruct.Pull = GPIO_PULLUP;
  GPIO_InitStruct.Speed = GPIO_SPEED_FREQ_HIGH;
  HAL_GPIO_Init(GPIOB, &GPIO_InitStruct);

  /*Configure GPIO pins : R1_Pin R2_Pin R3_Pin R4_Pin */
  GPIO_InitStruct.Pin = R1_Pin|R2_Pin|R3_Pin|R4_Pin;
  GPIO_InitStruct.Mode = GPIO_MODE_OUTPUT_PP;
  GPIO_InitStruct.Pull = GPIO_PULLUP;
  GPIO_InitStruct.Speed = GPIO_SPEED_FREQ_LOW;
  HAL_GPIO_Init(GPIOE, &GPIO_InitStruct);

  /*Configure GPIO pins : C1_Pin C2_Pin C3_Pin C4_Pin */
  GPIO_InitStruct.Pin = C1_Pin|C2_Pin|C3_Pin|C4_Pin;
  GPIO_InitStruct.Mode = GPIO_MODE_INPUT;
  GPIO_InitStruct.Pull = GPIO_PULLUP;
  HAL_GPIO_Init(GPIOE, &GPIO_InitStruct);

  /*Configure GPIO pin : PC8 */
  GPIO_InitStruct.Pin = GPIO_PIN_8;
  GPIO_InitStruct.Mode = GPIO_MODE_INPUT;
  GPIO_InitStruct.Pull = GPIO_NOPULL;
  HAL_GPIO_Init(GPIOC, &GPIO_InitStruct);

  /*Configure GPIO pin : LD2_Pin */
  GPIO_InitStruct.Pin = LD2_Pin;
  GPIO_InitStruct.Mode = GPIO_MODE_OUTPUT_PP;
  GPIO_InitStruct.Pull = GPIO_PULLUP;
  GPIO_InitStruct.Speed = GPIO_SPEED_FREQ_HIGH;
  HAL_GPIO_Init(LD2_GPIO_Port, &GPIO_InitStruct);

}

/* USER CODE BEGIN 4 */
float firFilter(float input) {
    // Shift existing values in the state buffer
    for (int i = sizeof(filterCoefficients) - 2; i > 0; i--) {
        filterState[i] = filterState[i - 1];
    }

    // Insert the new input at the beginning of the state buffer
    filterState[0] = input;

    // Perform convolution
    float output = 0;
    for (int i = 0; i < sizeof(filterCoefficients); i++) {
        output += filterCoefficients[i] * filterState[i];
    }

    return output;
}
/* USER CODE END 4 */

void StartDefaultTask(void *argument)
{
  for(;;)
  {
    osDelay(1);
  }
}

void StartJoystick(void *argument)
{
  /* USER CODE BEGIN StartJoystick */
  Joystick j1(&hadc1, &hadc2);
  Data data_joystick;

  bool pressed = false;
  osSemaphoreAcquire(DestinationHandle, osWaitForever);
  /* Infinite loop */
  for(;;)
  {
    j1.read();
    j1.set_pos();
    osDelay(10U);

    x_adc = j1.get_xADC();
    y_adc = j1.get_yADC();

    data_joystick = {j1.get_xPos(), j1.get_yPos()};
    osMessageQueuePut(JoystickQueueHandle,&data_joystick,0,200);

    if ((HAL_GPIO_ReadPin(GPIOC, GPIO_PIN_8))){
          if(pressed){
            pressed = false;
          } else
            pressed = true;

        }
    if(pressed){
        HAL_GPIO_WritePin (GPIOB, GPIO_PIN_0, GPIO_PIN_SET);
        osSemaphoreRelease(DestinationHandle);
    } else {
        HAL_GPIO_WritePin (GPIOB, GPIO_PIN_0, GPIO_PIN_RESET);
    }
  }
  /* USER CODE END StartJoystick */
}

void StartChassis(void *argument)
{
  /* USER CODE BEGIN StartChassis */
  Data reference;

  HAL_TIM_Encoder_Start_IT(&htim8, TIM_CHANNEL_ALL);
  HAL_TIM_Encoder_Start_IT(&htim4, TIM_CHANNEL_ALL);
  HAL_TIM_PWM_Start(&htim3,TIM_CHANNEL_1);
  HAL_TIM_PWM_Start(&htim2,TIM_CHANNEL_1);

  LL_Control::Encoder encL(&htim4, 50);
  LL_Control::Motor_PI  motorL(&encL, &htim2, 1050, 1950);
  motorL.set_Ks(10.0f,5);
  motorL.stop();

  LL_Control::Encoder encR(&htim8, 50);
  LL_Control::Motor_PI  motorR(&encR, &htim3, 1050, 1950);
  motorR.set_Ks(10.0f,5);
  motorR.stop();

  /* Infinite loop */
  for(;;)
  {
  osMessageQueueGet(JoystickQueueHandle, &reference, NULL, osWaitForever);

  //motorL.set_reference(1);
  motorL.set_reference((reference.x_data*2)+(reference.y_data*2));
    encL.update();
    motorL.go_to_ref();

    //motorR.set_reference(-1);
    motorR.set_reference(-(reference.x_data*2)+(reference.y_data*2));
    encR.update();
    motorR.go_to_ref();

    //pwm_vel1=motorL.get_vel();
    //pwm_vel2=motorR.get_vel();

    //snprintf(msg, 50, "CH_1: %.2f, CH_2: %.2f \r\n", reference.x_data, reference.y_data);
    //HAL_UART_Transmit(&huart3,(uint8_t*) msg,sizeof(msg),10);
    osDelay(20U);
  }
  /* USER CODE END StartChassis */
}

void StartUserInteraction(void *argument)
{
  /* USER CODE BEGIN StartUserValidation */
    char key;
    char key1;
    int count = 0;
    char password[4];

    Keypad k1(&hi2c1);
    k1.lcd_init();

    osSemaphoreAcquire(PassHandle, osWaitForever);
    /* Infinite loop */
    for(;;)
    {
      osSemaphoreAcquire(DestinationHandle, osWaitForever);

      key  = k1.keypad_read();
      osDelay(250);
      key1 = k1.keypad_read();

      if((key != key1) && (k1.is_valid(key1) == true)){
        k1.lcd_put_cur(1, count);
        k1.lcd_send_data(key1);
        password[count] = key1;
        count++;
      }

      if((key == '*' || key1 == '*') && (count == 4) ){
        if(k1.check_password(password)){
          k1.lcd_put_cur(1, 0);
          k1.lcd_send_string ("Correct  ");
          count = 0;
          osSemaphoreRelease(PassHandle);
          osDelay(3000);
        } else {
          k1.lcd_put_cur(1, 0);
          k1.lcd_send_string ("Incorrect ");
          count = 0;
          osDelay(3000);
        };
        k1.lcd_clear();
      }

      k1.lcd_put_cur(0, 0);
      k1.lcd_send_string ("Insert pass:    ");
    }
    /* USER CODE END StartUserValidation */
}

void StartDoor(void *argument)
{
  /* USER CODE BEGIN StartDoor */
  HAL_TIM_PWM_Start(&htim5, TIM_CHANNEL_4);
  /* Infinite loop */
  for(;;)
  {
    osSemaphoreAcquire(PassHandle, osWaitForever);

    osDelay(1);
    TIM5->CCR4 = 1500;
    HAL_Delay(5000);
    TIM5->CCR4 = 750;
    HAL_Delay(5000);
  }
  /* USER CODE END StartDoor */
}

void StartIMU(void *argument)
{
  /* USER CODE BEGIN StartIMU */

  uint8_t check, Data;
  HAL_I2C_Mem_Read(&hi2c2, MPU6050_ADDR,WHO_AM_I_REG,1, &check, 1, 1000);
  if(check==104){ //if device is present
    // power management register 0X6B we should write all 0's to wake the sensor up
    Data=0;
    HAL_I2C_Mem_Write(&hi2c2, MPU6050_ADDR, PWR_MGMT_1_REG, 1,&Data, 1, 1000);

    // Set DATA RATE of 1KHz by writing SMPLRT_DIV register
    Data = 0x07;
    HAL_I2C_Mem_Write(&hi2c2, MPU6050_ADDR, SMPLRT_DIV_REG, 1, &Data, 1, 1000);
  }
  /* Infinite loop */
  for(;;)
  {
    osDelay(20);
    uint8_t Rec_Data[6];

    // Read 6 BYTES of data starting from ACCEL_XOUT_H register
    HAL_I2C_Mem_Read(&hi2c2, MPU6050_ADDR, ACCEL_XOUT_H_REG, 1, Rec_Data, 6, 1000);
    Accel_X_RAW = (int16_t)(Rec_Data[0] << 8 | Rec_Data [1]);
    Accel_Y_RAW = (int16_t)(Rec_Data[2] << 8 | Rec_Data [3]);
    Accel_Z_RAW = (int16_t)(Rec_Data[4] << 8 | Rec_Data [5]);

    Ax = Accel_X_RAW/16384.0;
    Ay = Accel_Y_RAW/16384.0;
    Az = Accel_Z_RAW/16384.0;

    // Apply FIR filter to each axis
    float filteredAx = firFilter(Ax);
    float filteredAy = firFilter(Ay);
    float filteredAz = firFilter(Az);

    snprintf(msg, sizeof(msg), "%.2f, %.2f, %.2f \r\n", filteredAx, filteredAy, filteredAz);
    //snprintf(msg, sizeof(msg), "Ace: X=%.2f, Y=%.2f, Z=%.2f \r\n", Ax, Ay, Az);
    HAL_UART_Transmit(&huart3, (uint8_t*)msg, sizeof(msg), 10);
  }
  /* USER CODE END StartIMU */
}

void HAL_TIM_PeriodElapsedCallback(TIM_HandleTypeDef *htim)
{
  if (htim->Instance == TIM17) {
    HAL_IncTick();
  }
}

void Error_Handler(void)
{
  __disable_irq();
  while (1)
  {
  }
}
